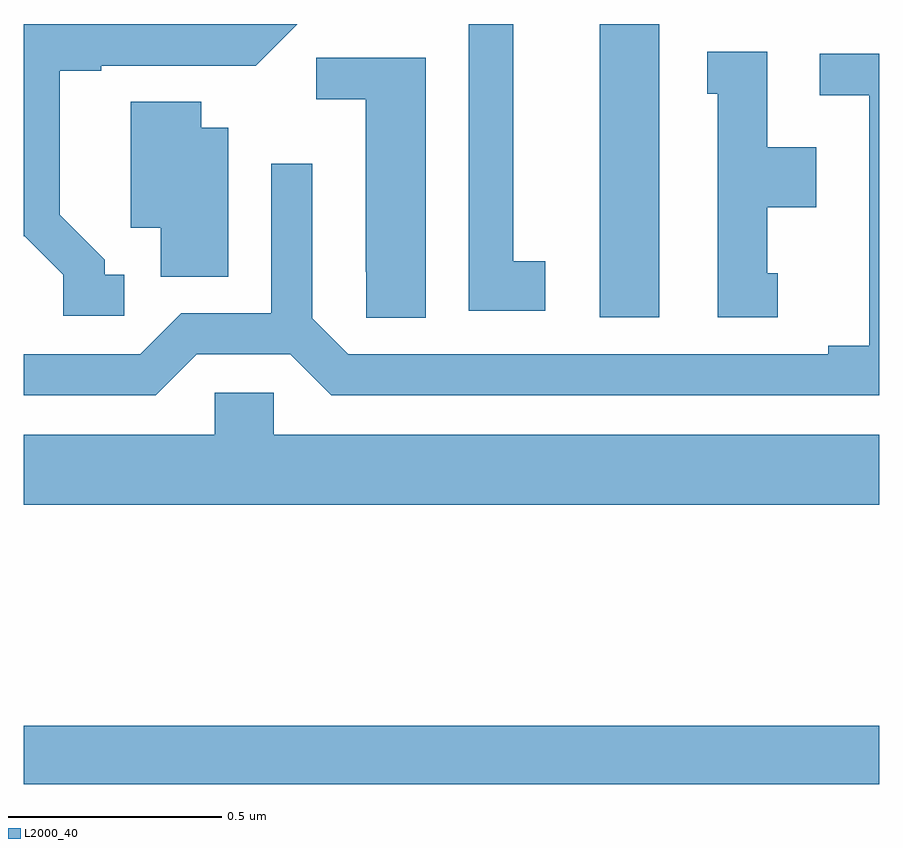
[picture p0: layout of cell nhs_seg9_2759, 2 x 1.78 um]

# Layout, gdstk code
import gdstk
lib = gdstk.Library(unit=1e-6, precision=1e-09)
def R(c, l, rs):  # rectangles x0, y0, x1, y1
    for r in rs: c.add(gdstk.rectangle(r[:2], r[2:], *l))
def P(c, l, *ps):  # polygons
    for p in ps: c.add(gdstk.Polygon(p, *l))
L2000_40 = (2000, 40)

nhs_seg9_2759 = lib.new_cell('nhs_seg9_2759')
R(nhs_seg9_2759, L2000_40, [(144,1239.724,146,1239.86), (145.346,1240.815,145.486,1241.5)])
P(nhs_seg9_2759, L2000_40, [(144.235,1240.914),(144.19,1240.914),(144.19,1240.949),(144.085,1241.054),(144.085,1241.391),(144.181,1241.391),(144.181,1241.403),(144.446,1241.403),(144.446,1241.402),(144.542,1241.402),(144.64,1241.5),(144.508,1241.5),(144.507,1241.499),(144.251,1241.499),(144.251,1241.5),(144,1241.5),(144,1241.004),(144.003,1241.004),(144.093,1240.914),(144.093,1240.818),(144.235,1240.818)],
  [(145.219,1240.946),(145.144,1240.946),(145.144,1241.5),(145.04,1241.5),(145.04,1240.83),(145.219,1240.83)],
  [(145.762,1240.917),(145.738,1240.917),(145.738,1241.072),(145.852,1241.072),(145.852,1241.212),(145.738,1241.212),(145.738,1241.435),(145.598,1241.435),(145.598,1241.337),(145.622,1241.337),(145.622,1240.815),(145.762,1240.815)],
  [(144.405,1240.728),(144.623,1240.728),(144.719,1240.632),(146,1240.632),(146,1241.43),(145.86,1241.43),(145.86,1241.334),(145.976,1241.334),(145.976,1240.748),(145.88,1240.748),(145.88,1240.728),(144.759,1240.728),(144.675,1240.812),(144.675,1241.173),(144.579,1241.173),(144.579,1240.824),(144.369,1240.824),(144.273,1240.728),(144,1240.728),(144,1240.632),(144.309,1240.632)],
  [(144.94,1241.421),(144.684,1241.421),(144.684,1241.324),(144.8,1241.324),(144.8,1240.921),(144.801,1240.921),(144.801,1240.813),(144.94,1240.813)],
  [(144.478,1241.257),(144.415,1241.257),(144.415,1241.318),(144.251,1241.318),(144.251,1241.024),(144.32,1241.024),(144.32,1240.909),(144.478,1240.909)],
  [(146,1240.54),(144.585,1240.54),(144.585,1240.638),(144.447,1240.638),(144.447,1240.54),(144,1240.54),(144,1240.376),(146,1240.376)])

lib.write_gds('nhs_seg9_2759.gds')
